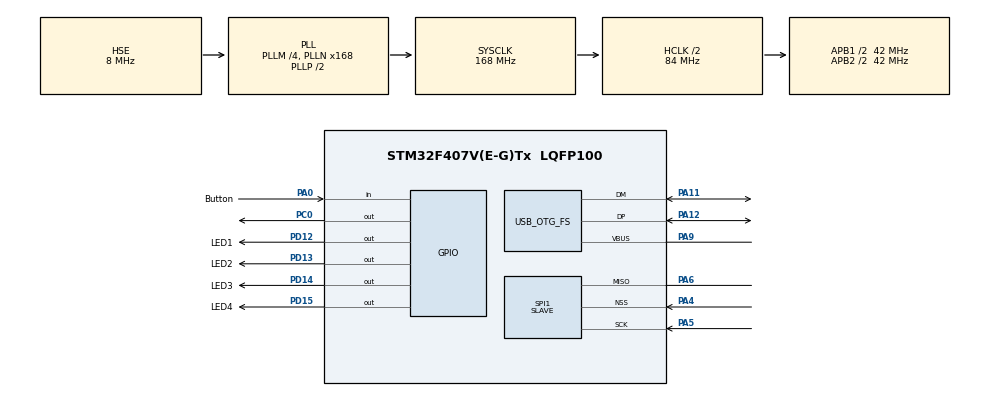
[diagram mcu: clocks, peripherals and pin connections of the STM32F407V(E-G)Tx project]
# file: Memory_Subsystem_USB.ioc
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FATFS._MAX_SS=4096
Mcu.Family=STM32F4
Mcu.Name=STM32F407V(E-G)Tx
Mcu.Package=LQFP100
NVIC.OTG_FS_IRQn=true\:0\:0\:false\:false\:true\:true\:true
NVIC.PriorityGroup=NVIC_PRIORITYGROUP_0
PA0-WKUP.GPIO_Label=Button
PA0-WKUP.Signal=GPIO_Input
PA11.Mode=Host_Only
PA11.Signal=USB_OTG_FS_DM
PA12.Mode=Host_Only
PA12.Signal=USB_OTG_FS_DP
PA4.Mode=NSS_Signal_Hard_Input
PA4.Signal=SPI1_NSS
PA5.Mode=Simplex_Bidirectional_Slave
PA5.Signal=SPI1_SCK
PA6.Mode=Simplex_Bidirectional_Slave
PA6.Signal=SPI1_MISO
PA9.Mode=Activate_VBUS
PA9.Signal=USB_OTG_FS_VBUS
PC0.Signal=GPIO_Output
PD12.GPIO_Label=LED1
PD12.Signal=GPIO_Output
PD13.GPIO_Label=LED2
PD13.Signal=GPIO_Output
PD14.GPIO_Label=LED3
PD14.Signal=GPIO_Output
PD15.GPIO_Label=LED4
PD15.Signal=GPIO_Output
PH0-OSC_IN.Mode=HSE-External-Oscillator
PH0-OSC_IN.Signal=RCC_OSC_IN
PH1-OSC_OUT.Mode=HSE-External-Oscillator
PH1-OSC_OUT.Signal=RCC_OSC_OUT
ProjectManager.HeapSize=0x200
ProjectManager.StackSize=0x400
ProjectManager.TargetToolchain=STM32CubeIDE
RCC.48MHZClocksFreq_Value=48000000
RCC.AHBCLKDivider=RCC_SYSCLK_DIV2
RCC.AHBFreq_Value=84000000
RCC.APB1CLKDivider=RCC_HCLK_DIV2
RCC.APB1Freq_Value=42000000
RCC.APB1TimFreq_Value=84000000
RCC.APB2CLKDivider=RCC_HCLK_DIV2
RCC.APB2Freq_Value=42000000
RCC.APB2TimFreq_Value=84000000
RCC.CortexFreq_Value=84000000
RCC.HCLKFreq_Value=84000000
RCC.HSE_VALUE=8000000
RCC.HSI_VALUE=16000000
RCC.LSE_VALUE=32768
RCC.PLLM=4
RCC.PLLN=168
RCC.PLLQ=7
RCC.SYSCLKFreq_VALUE=168000000
RCC.SYSCLKSource=RCC_SYSCLKSOURCE_PLLCLK
RCC.VCOOutputFreq_Value=336000000
SPI1.Direction=SPI_DIRECTION_1LINE
SPI1.FirstBit=SPI_FIRSTBIT_LSB
SPI1.Mode=SPI_MODE_SLAVE
SPI1.VirtualNSS=VM_NSSHARD
SPI1.VirtualType=VM_SLAVE
USB_HOST.BSP.number=1
USB_HOST.USBH_HandleTypeDef-MSC_FS=hUsbHostFS
USB_HOST.VirtualModeFS=Msc
USB_HOST0.BSP.STBoard=false
USB_HOST0.BSP.api=Unknown
USB_HOST0.BSP.i2caddr=0
USB_HOST0.BSP.instance=PC0
USB_HOST0.BSP.ip=GPIO
USB_HOST0.BSP.mode=Output
USB_HOST0.BSP.name=Drive_VBUS_FS
USB_HOST0.BSP.solution=PC0
USB_OTG_FS.VirtualMode=Host_Only
USB_OTG_FS.phy_itface=HCD_PHY_EMBEDDED
VP_FATFS_VS_USB.Mode=USB
VP_USB_HOST_VS_USB_HOST_MSC_FS.Mode=MSC_FS
board=STM32F407G-DISC1

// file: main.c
/* USER CODE BEGIN Header */
/**
  ******************************************************************************
  * @file           : main.c
  * @brief          : Main program body
  ******************************************************************************
  * @attention
  *
  * <h2><center>&copy; Copyright (c) 2021 STMicroelectronics.
  * All rights reserved.</center></h2>
  *
  * This software component is licensed by ST under Ultimate Liberty license
  * SLA0044, the "License"; You may not use this file except in compliance with
  * the License. You may obtain a copy of the License at:
  *                             www.st.com/SLA0044
  *
  ******************************************************************************
  */
/* USER CODE END Header */
#include "main.h"
#include "fatfs.h"
#include "usb_host.h"

/* USER CODE BEGIN Includes */
#include <string.h>
#include <stdbool.h>
/* USER CODE END Includes */

/* USER CODE BEGIN PTD */
// Neighborhood Database resident information
struct Residents {
	char fname[10];			// first name
	char lname[10];			// last name
	char vmake[10];			// vehicle make
	char vmodel[10];		// vehicle model
	char plate[6];			// license plate
	int row;				// data file row
} NHD[5];
/* USER CODE END PTD */

SPI_HandleTypeDef hspi1;

/* USER CODE BEGIN PV */
// USB variables
extern ApplicationTypeDef Appli_state;			// USB drive's state

// FATFS Variables
FATFS usbFATFS;									// File system object
extern char USBHPath[4];						// USBH logical drive path

// Filename strings
char nhd_fn[10] = "Residents.csv";				// Residents data file
char img_fn[10];								// Variable for image writing

// File IO Variables
FIL fo;											// File object
FRESULT res;									// Function return result
UINT byteswritten, bytesread;					// Number bytes read/written
char rwbuf[100];								// read/write character buffer

/* USER CODE END PV */

void SystemClock_Config(void);
static void MX_GPIO_Init(void);
static void MX_SPI1_Init(void);
void MX_USB_HOST_Process(void);

/* USER CODE BEGIN PFP */

// Neighborhood Database functions
bool update_NHD(int, int, int);		//
// TODO: find_resident					// Match plate detection result with NHD

// File read / write functions
bool USB_read(FIL, char*);			//
// TODO: bool USB_write(?);				// Write output images

// Communication functions
// TODO: SPI1_get_image					// receive image via SPI1
// TODO: SPI2_get_image					// receive image via SPI2
// TODO: SPI2_get_plate					// receive plate detection result via SPI2
// TODO: GPIO_sleep						// Set pins to tell RPi's to sleep
// TODO: GPIO_wake(?);					// Reset pins to tell RPi's to wake up

// Testing functions
bool USB_readT(void);				//
bool USB_writeT(void);				//
void twrite(void);					//
void tread(void);					//

/* USER CODE END PFP */

/* USER CODE BEGIN 0 */
/*******************************************************************************
 * Function:
 * 		void update_NHD(int row, int col, int cell_length)
 *
 * Description:
 * 		When reading the csv file, this function is called to choose
 * 		which field of the Residents structure to edit and write the
 * 		contents of the read/write buffer to it.
 *
 * Arguments:
 * 		- int row:
 * 			The row of csv file, each row representing a different resident.
 * 		- int col:
 * 			The column of csv file, each column representing a different
 * 			field of data for a given resident.
 * 		- int cell_length:
 * 			Number of characters read from the csv file, used to iterate
 * 			through the read write buffer.
 *
 * Return: bool
 * 		Represents whether or not there is an error with the Neighborhood
 * 		Database reference values. (row / col)
 ******************************************************************************/
bool update_NHD(int row, int col, int cell_length)
{
	// Check if column dimensions are valid
	if ((col < 0) || (col > 4))
		return 0;

	// Check if row dimensions are valid
	if ((row < 0) || (row > 4))
		return 0;

	// Check if cell length dimensions are valid
	if ((cell_length < 0) || (cell_length > 99))
		return 0;

	// Update NHD field(s)
	switch (col) {
	case 0:		// first name and row number
		for (uint8_t i = 0; i < cell_length; i++)
			NHD[row].fname[i] = rwbuf[i];
		NHD[row].row = row;
		break;

	case 1:		// last name
		for (uint8_t i = 0; i < cell_length; i++)
			NHD[row].lname[i] = rwbuf[i];
		break;

	case 2:		// vehicle make
		for (uint8_t i = 0; i < cell_length; i++)
			NHD[row].vmake[i] = rwbuf[i];
		break;

	case 3:		// vehicle model
		for (uint8_t i = 0; i < cell_length; i++)
			NHD[row].vmodel[i] = rwbuf[i];
		break;

	case 4:		// license plate
		for (uint8_t i = 0; i < cell_length; i++)
			NHD[row].plate[i] = rwbuf[i];
		break;
	}

	return 1;
}

/*******************************************************************************
 * Function: bool USB_read(FIL file_object, char * file_name)
 *
 * Description:
 * 		For the Residents.csv file input, this function will read the csv
 * 		file into the Residents data structure.
 *
 * Arguments:
 * 		- FIL file_object:
 * 			FatFs file object
 * 		- char * file_name:
 * 			character string of the filename to be read
 *
 * Return: bool
 * 		Represents whether or not file reading was successful.
 ******************************************************************************/
bool USB_read(FIL file_object, char * file_name)
{
	// Initialize variables for reading csv file.
	bool reading = 1;	// tells while loop when cell reading is over
	bool update_res;	// result from updating a value in NHD
	int cell_length;	// number of characters per cell
	int col = -1;		// column of csv file (leftmost is 0)
	int row = -1;		// row of csv file (topmost is 0

	// Open a file for reading
	if (f_open(&file_object, file_name, FA_READ) != FR_OK)
		return 0;		// error opening file

	// Read csv file one cell at a time.
	while (reading)
	{
		// set/reset/update indexing variables
		cell_length = 0;
		row += 1;
		col = -1;

		// Read cell one byte at a time to check for identifier characters.
		for (uint8_t i = 0; i < 100; i++)
		{
			res = f_read(&file_object, (uint8_t *)&rwbuf[i], 1, &bytesread);

			if (rwbuf[i] == 0x2C)			// comma
			{
				cell_length = i + 1;
				col += 1;
				break;
			}
			else if (rwbuf[i] == "\n")		// new line
			{
				cell_length = i + 1;
				break;
			}
			else if (rwbuf[i] == 0x00)		// NULL
			{
				cell_length = i + 1;
				reading = 0;
				break;
			}
		}

		if (!update_NHD(row, col, cell_length))
			return 0;		// error updating NHD

	}

	// Check for read error
	if ((row == 0) || (col == 0))
		return 0;		// error reading file

	f_close(&file_object);
	return 1;
}

// Test USB reading function
bool USB_readT(void)
{
	// Open a file for reading
	if (f_open(&myFile, "TEST.txt", FA_READ) != FR_OK)
	{
		return 0;		// error opening file
	}

	// Read text from file (stop at NULL)
	for (uint8_t i = 0; i < 100; i++)
	{
		res = f_read(&myFile, (uint8_t *)&rwbuf[i], 1, &bytesread);
		if (rwbuf[i] == 0x00)
		{
			bytesread = i;
			break;
		}
	}

	// Check for file read error
	if (bytesread == 0)
	{
		return 0;		// error reading file
	}

	// Close file
	f_close(&myFile);
	return 1;			// file reading successful
}

// Test USB writing function
bool USB_writeT(void)
{
	// Open a file for writing
	if (f_open(&myFile, "TEST.txt", FA_WRITE | FA_CREATE_ALWAYS) != FF_OK)
	{
		return 0;		// error opening file
	}

	// Write text to file
	sprintf(rwbuf, "Hello?\n*TAPTAPTAP*\nIs this thing on?");		// test text
	res = f_write(&myFile, (uint8_t *)rwbuf, strlen(rwbuf), &byteswritten);

	// Check for file write error
	if ((byteswritten == 0) || (res != FR_OK))
	{
		return 0;		// error writing to file
	}

	// Close file
	f_close(&myFile);
	return 1;			// file writing successful
}

// if statement for testing USB reading function
void tread(void)
{
	if (HAL_GPIO_ReadPin(BUTTON_GPIO_Port, Button_Pin) == GPIO_PIN_SET)
	{
		if (USB_read())	// blue LED on success
			HAL_GPIO_WritePin(LED4_GPIO_Port, LED4_Pin, GPIO_PIN_SET);
		else			// red LED on error
			HAL_GPIO_WritePin(LED3_GPIO_Port, LED3_Pin, GPIO_PIN_SET);

		HAL_Delay(1000);
	}
}

// if statement for testing USB writing function
void twrite(void)
{
	if (HAL_GPIO_ReadPin(BUTTON_GPIO_Port, Button_Pin) == GPIO_PIN_SET)
	{
		if (USB_write())	// blue LED on success
			HAL_GPIO_WritePin(LED4_GPIO_Port, LED4_Pin, GPIO_PIN_SET);
		else				// red LED on error
			HAL_GPIO_WritePin(LED3_GPIO_Port, LED3_Pin, GPIO_PIN_SET);

		HAL_Delay(1000);
	}
}
/* USER CODE END 0 */

int main(void)
{

  /* MCU Configuration--------------------------------------------------------*/

  /* Reset of all peripherals, Initializes the Flash interface and the Systick. */
  HAL_Init();

  /* Configure the system clock */
  SystemClock_Config();

  /* Initialize all configured peripherals */
  MX_GPIO_Init();
  MX_FATFS_Init();
  MX_USB_HOST_Init();
  MX_SPI1_Init();
  /* USER CODE BEGIN 2 */
  int update_NHD = 1;			// flag for when NHD needs to be updated

  /* USER CODE END 2 */

  /* Infinite loop */
  while (1)
  {
    MX_USB_HOST_Process();

    /* USER CODE BEGIN 3 */
    // USB drive status
    switch (Appli_state)
    {
    case APPLICATION_IDLE:
    	break;

    case APPLICATION_START:
    	if (f_mount(&usbFATFS, (TCHAR const*)USBHPath, 0) == FR_OK)
    	{
    		// Turn green LED on
    		HAL_GPIO_WritePin(LED1_GPIO_Port, LED1_Pin, GPIO_PIN_SET);
    	}
    	break;

    case APPLICATION_READY:
    	// Check if Neighborhood Database needs to be updated
    	if (update_NHD)
    	{	// Update Neighborhood Database
    		if (USB_read(fo, nhd_fn))
    		{	// csv file read successfully
    			HAL_GPIO_WritePin(LED3_GPIO_Port, LED3_Pin, GPIO_PIN_RESET);
    			update_NHD = 0;
    		}
    		else
    		{	// error reading csv file
    			HAL_GPIO_WritePin(LED3_GPIO_Port, LED3_Pin, GPIO_PIN_SET);
    		}
    	}
    	//tread();		// Test USB_write() when pressing push button
    	//twrite();		// Test USB_write() when pressing push button
    	break;

    case APPLICATION_DISCONNECT:
    	HAL_GPIO_WritePin(LED1_GPIO_Port, LED1_Pin, GPIO_PIN_RESET);	// green LED off
    	HAL_GPIO_WritePin(LED3_GPIO_Port, LED3_Pin, GPIO_PIN_SET);		// red LED on
    	update_NHD = 1;													// update_NHD flag on
    	break;
    }
  }
  /* USER CODE END 3 */
}

void SystemClock_Config(void)
{
  RCC_OscInitTypeDef RCC_OscInitStruct = {0};
  RCC_ClkInitTypeDef RCC_ClkInitStruct = {0};

  /** Configure the main internal regulator output voltage
  */
  __HAL_RCC_PWR_CLK_ENABLE();
  __HAL_PWR_VOLTAGESCALING_CONFIG(PWR_REGULATOR_VOLTAGE_SCALE1);
  /** Initializes the RCC Oscillators according to the specified parameters
  * in the RCC_OscInitTypeDef structure.
  */
  RCC_OscInitStruct.OscillatorType = RCC_OSCILLATORTYPE_HSE;
  RCC_OscInitStruct.HSEState = RCC_HSE_ON;
  RCC_OscInitStruct.PLL.PLLState = RCC_PLL_ON;
  RCC_OscInitStruct.PLL.PLLSource = RCC_PLLSOURCE_HSE;
  RCC_OscInitStruct.PLL.PLLM = 4;
  RCC_OscInitStruct.PLL.PLLN = 168;
  RCC_OscInitStruct.PLL.PLLP = RCC_PLLP_DIV2;
  RCC_OscInitStruct.PLL.PLLQ = 7;
  if (HAL_RCC_OscConfig(&RCC_OscInitStruct) != HAL_OK)
  {
    Error_Handler();
  }
  /** Initializes the CPU, AHB and APB buses clocks
  */
  RCC_ClkInitStruct.ClockType = RCC_CLOCKTYPE_HCLK|RCC_CLOCKTYPE_SYSCLK
                              |RCC_CLOCKTYPE_PCLK1|RCC_CLOCKTYPE_PCLK2;
  RCC_ClkInitStruct.SYSCLKSource = RCC_SYSCLKSOURCE_PLLCLK;
  RCC_ClkInitStruct.AHBCLKDivider = RCC_SYSCLK_DIV2;
  RCC_ClkInitStruct.APB1CLKDivider = RCC_HCLK_DIV2;
  RCC_ClkInitStruct.APB2CLKDivider = RCC_HCLK_DIV2;

  if (HAL_RCC_ClockConfig(&RCC_ClkInitStruct, FLASH_LATENCY_2) != HAL_OK)
  {
    Error_Handler();
  }
}

static void MX_SPI1_Init(void)
{

  /* SPI1 parameter configuration*/
  hspi1.Instance = SPI1;
  hspi1.Init.Mode = SPI_MODE_SLAVE;
  hspi1.Init.Direction = SPI_DIRECTION_1LINE;
  hspi1.Init.DataSize = SPI_DATASIZE_8BIT;
  hspi1.Init.CLKPolarity = SPI_POLARITY_LOW;
  hspi1.Init.CLKPhase = SPI_PHASE_1EDGE;
  hspi1.Init.NSS = SPI_NSS_HARD_INPUT;
  hspi1.Init.FirstBit = SPI_FIRSTBIT_LSB;
  hspi1.Init.TIMode = SPI_TIMODE_DISABLE;
  hspi1.Init.CRCCalculation = SPI_CRCCALCULATION_DISABLE;
  hspi1.Init.CRCPolynomial = 10;
  if (HAL_SPI_Init(&hspi1) != HAL_OK)
  {
    Error_Handler();
  }

}

static void MX_GPIO_Init(void)
{
  GPIO_InitTypeDef GPIO_InitStruct = {0};

  /* GPIO Ports Clock Enable */
  __HAL_RCC_GPIOH_CLK_ENABLE();
  __HAL_RCC_GPIOC_CLK_ENABLE();
  __HAL_RCC_GPIOA_CLK_ENABLE();
  __HAL_RCC_GPIOD_CLK_ENABLE();

  /*Configure GPIO pin Output Level */
  HAL_GPIO_WritePin(GPIOC, GPIO_PIN_0, GPIO_PIN_RESET);

  /*Configure GPIO pin Output Level */
  HAL_GPIO_WritePin(GPIOD, LED1_Pin|LED2_Pin|LED3_Pin|LED4_Pin, GPIO_PIN_RESET);

  /*Configure GPIO pin : PC0 */
  GPIO_InitStruct.Pin = GPIO_PIN_0;
  GPIO_InitStruct.Mode = GPIO_MODE_OUTPUT_PP;
  GPIO_InitStruct.Pull = GPIO_NOPULL;
  GPIO_InitStruct.Speed = GPIO_SPEED_FREQ_LOW;
  HAL_GPIO_Init(GPIOC, &GPIO_InitStruct);

  /*Configure GPIO pin : Button_Pin */
  GPIO_InitStruct.Pin = Button_Pin;
  GPIO_InitStruct.Mode = GPIO_MODE_INPUT;
  GPIO_InitStruct.Pull = GPIO_NOPULL;
  HAL_GPIO_Init(Button_GPIO_Port, &GPIO_InitStruct);

  /*Configure GPIO pins : LED1_Pin LED2_Pin LED3_Pin LED4_Pin */
  GPIO_InitStruct.Pin = LED1_Pin|LED2_Pin|LED3_Pin|LED4_Pin;
  GPIO_InitStruct.Mode = GPIO_MODE_OUTPUT_PP;
  GPIO_InitStruct.Pull = GPIO_NOPULL;
  GPIO_InitStruct.Speed = GPIO_SPEED_FREQ_LOW;
  HAL_GPIO_Init(GPIOD, &GPIO_InitStruct);

}

void Error_Handler(void)
{
  __disable_irq();
  while (1)
  {
  }
}

/************************ (C) COPYRIGHT STMicroelectronics *****END OF FILE****/
